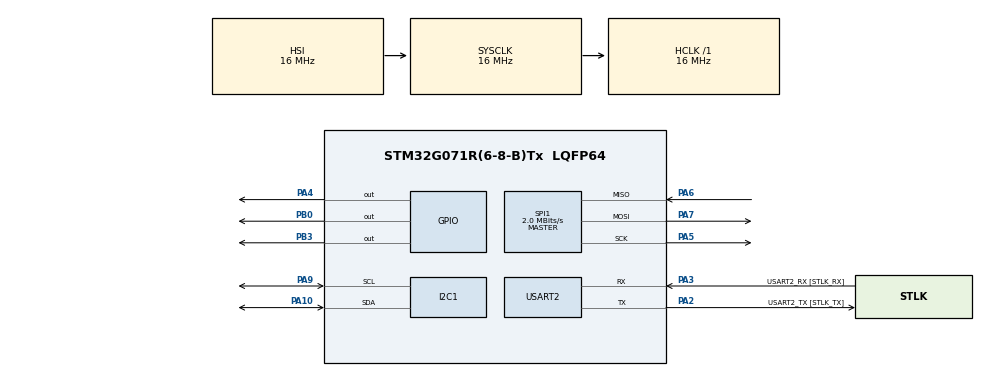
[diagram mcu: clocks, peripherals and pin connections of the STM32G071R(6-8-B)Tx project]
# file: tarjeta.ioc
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Mcu.Family=STM32G0
Mcu.Name=STM32G071R(6-8-B)Tx
Mcu.Package=LQFP64
NVIC.USART2_IRQn=true\:0\:0\:false\:false\:true\:true\:true
PA10.Mode=I2C
PA10.Signal=I2C1_SDA
PA13.GPIO_Label=TMS
PA13.Mode=Serial_Wire
PA13.Signal=SYS_SWDIO
PA14-BOOT0.GPIO_Label=TCK
PA14-BOOT0.Mode=Serial_Wire
PA14-BOOT0.Signal=SYS_SWCLK
PA2.GPIO_Label=USART2_TX [STLK_TX]
PA2.GPIO_PuPd=GPIO_PULLUP
PA2.Mode=Asynchronous
PA2.Signal=USART2_TX
PA3.GPIO_Label=USART2_RX [STLK_RX]
PA3.GPIO_PuPd=GPIO_PULLUP
PA3.Mode=Asynchronous
PA3.Signal=USART2_RX
PA4.Signal=GPIO_Output
PA5.Mode=Full_Duplex_Master
PA5.Signal=SPI1_SCK
PA6.Mode=Full_Duplex_Master
PA6.Signal=SPI1_MISO
PA7.Mode=Full_Duplex_Master
PA7.Signal=SPI1_MOSI
PA9.Mode=I2C
PA9.Signal=I2C1_SCL
PB0.Signal=GPIO_Output
PB3.Signal=GPIO_Output
PC13.Mode=SYS_WakeUp1
PC13.Signal=SYS_WKUP2
PC14-OSC32_IN\ (PC14).Mode=LSE-External-Oscillator
PC14-OSC32_IN\ (PC14).Signal=RCC_OSC32_IN
PC15-OSC32_OUT\ (PC15).Mode=LSE-External-Oscillator
PC15-OSC32_OUT\ (PC15).Signal=RCC_OSC32_OUT
PF0-OSC_IN\ (PF0).GPIO_Label=MCO
PF0-OSC_IN\ (PF0).Mode=HSE-External-Clock-Source
PF0-OSC_IN\ (PF0).Signal=RCC_OSC_IN
ProjectManager.HeapSize=0x200
ProjectManager.StackSize=0x400
ProjectManager.TargetToolchain=STM32CubeIDE
RCC.AHBFreq_Value=16000000
RCC.CortexFreq_Value=16000000
RCC.EXTERNAL_CLOCK_VALUE=12288000
RCC.HCLKFreq_Value=16000000
RCC.HSE_VALUE=8000000
RCC.HSI_VALUE=16000000
RCC.SYSCLKFreq_VALUE=16000000
RCC.VCOOutputFreq_Value=128000000
SPI1.BaudRatePrescaler=SPI_BAUDRATEPRESCALER_8
SPI1.CalculateBaudRate=2.0 MBits/s
SPI1.DataSize=SPI_DATASIZE_8BIT
SPI1.Direction=SPI_DIRECTION_2LINES
SPI1.Mode=SPI_MODE_MASTER
SPI1.VirtualType=VM_MASTER
USART2.VirtualMode-Asynchronous=VM_ASYNC
VP_SYS_VS_DBSignals.Mode=DisableDeadBatterySignals
board=NUCLEO-G071RB

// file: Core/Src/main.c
/* USER CODE BEGIN Header */
/**
  ******************************************************************************
  * @file           : main.c
  * @brief          : Main program body
  ******************************************************************************
  * @attention
  *
  * <h2><center>&copy; Copyright (c) 2022 STMicroelectronics.
  * All rights reserved.</center></h2>
  *
  * This software component is licensed by ST under BSD 3-Clause license,
  * the "License"; You may not use this file except in compliance with the
  * License. You may obtain a copy of the License at:
  *                        opensource.org/licenses/BSD-3-Clause
  *
  ******************************************************************************
  */
/* USER CODE END Header */
#include "main.h"

/* USER CODE BEGIN Includes */
#include "i2c-lcd.h"
#include "stm32f1_rc522.h"
#include "string.h"
#include "stdio.h"
#include "ds1307_for_stm32_hal.h"
/* USER CODE END Includes */

I2C_HandleTypeDef hi2c1;

SPI_HandleTypeDef hspi1;

UART_HandleTypeDef huart2;

/* USER CODE BEGIN PV */

//Variables utilizadas
int bandera=0,i=0,enter=0,bandera,j=0,n=0;
char palabra[100],actual[5],buff[20];
int segundos=0,minutos=0,horas=0,year=0,dia=0,mes=0;

/* USER CODE END PV */

void SystemClock_Config(void);
static void MX_GPIO_Init(void);
static void MX_USART2_UART_Init(void);
static void MX_SPI1_Init(void);
static void MX_I2C1_Init(void);

/* USER CODE BEGIN 0 */
uint8_t estado;
uint8_t str[MAX_LEN];
uint8_t data[1]=" ";
char identificacion[5];

struct base//Estructura que almacena el ID de la tarjeta y el nombre del usuario
{
    char c[5];
    char nombre[100];
}tarjetas[10];

//Esta funcion retornara un 1 en caso de a ver encontrado una tarjeta y un 0 en el caso contrario
int reconocer(){

	 j=0;
	int count=0;
	do {
		for (int var = 0; var < 5; ++var) {//Busqueda de coincidencia de los ID de las tarjetas
											//En la estructura
			if (tarjetas[j].c[var]==identificacion[var])
				    {
				    	count++;
				    }
		}
		if (count==5) {
			return 1;

		} else {
		count=0;
		}

		 j++;
	} while (j!=10);

	return 0;
}

//Funcion para agregar tarjetas
//Con la ayuda de la funcion de reconocer podemos saber si ya la tarjeta
//Leida se puede o no agregar en caso de ya estar agregada nos retornara un 1
//indicando que ya esta agregada en el caso contrario un 0
int agregar(){
	int pos=0;
if(reconocer()){
	return 1;
}
for (int var = 0; var < 10; ++var) {//Posicionamiento en un espacio vacio de la estructura
									//Para poder agregar la tarjeta
	if(tarjetas[var].c[0]=='\0'){
		pos=var;
		break;
	}
}
memcpy(tarjetas[pos].c,identificacion,5);//Copiando tarjeta leida a la posicion pertinente
return 0;
}
void eliminar(int pos){//eliminacion de tarjetas
	for (int var = 0; var < 5; ++var) {
		tarjetas[pos].c[var]='\0';
	}
}
void clean(){//Limpiador del array que almacena los comandos de eliminar y agregar
	for (int var = 0; var < 100; ++var) {
		palabra[var]='\0';
	}
}
void call(){//Llamado de el lector de tarjeta
		estado=MFRC522_Request(PICC_REQIDL,str);//Si estado=0 significa que a pasado una tarjeta por el lector
												//En caso contrario permanecera en 1 o 2 dependiendo si hay o no un error
		 estado=MFRC522_Anticoll(str);
		  memcpy(identificacion,str,5);//Copiando la tarjeta leida al array que indica la tarjeta actual
}

/* USER CODE END 0 */

int main(void)
{

  /* MCU Configuration--------------------------------------------------------*/

  /* Reset of all peripherals, Initializes the Flash interface and the Systick. */
  HAL_Init();

  /* Configure the system clock */
  SystemClock_Config();

  /* Initialize all configured peripherals */
  MX_GPIO_Init();
  MX_USART2_UART_Init();
  MX_SPI1_Init();
  MX_I2C1_Init();
  /* USER CODE BEGIN 2 */

  //Inicializacion de los perifericos y los protocolos de comunicacion
  lcd_init();
MFRC522_Init();
HAL_UART_Receive_IT(&huart2, data, 1);
DS1307_Init(&hi2c1);

//Seteo de la Hora
// DS1307_SetTimeZone(-4,00);
//DS1307_SetHour(11);
//DS1307_SetMinute(12);
//DS1307_SetSecond(0);

//DS1307_SetDate(30);
//DS1307_SetMonth(4);
//DS1307_SetYear(2022);

//Inicializacion de la tarjeta principal
memcpy(tarjetas[0].nombre,"Miguel",6);//Nombre del usuario principal

//ID de la tarjeta principal en Hexadecimal
tarjetas[0].c[0]=0xAC;
tarjetas[0].c[1]=0x6;
tarjetas[0].c[2]=0xA;
tarjetas[0].c[3]=0x4A;
tarjetas[0].c[4]=0xEA;

  /* USER CODE END 2 */

  /* Infinite loop */
  /* USER CODE BEGIN WHILE */
  while (1)
  {
	  if (!bandera) {//Mensaje el cual se presentara cuando no se haya hecho una accion en el lector de tarjeta
		  lcd_put_cur(0,0);
		  lcd_send_string("Proyecto Final");
		  lcd_put_cur(1,0);
		  lcd_send_string("   de micro");
	}
	 call();//llamado de la funcion de la tarjeta
	 if (reconocer()&&j==0) {//Bandera la cual indica que se ejercio alguna accion en el lector de tarjetas
		bandera=1;
	}

	 //eliminar y agregar tarjetas
	  if(enter==2&&bandera){//confirmacion que se desea borrar o agregar alguna tarjeta

		  if(strcmp(palabra,"agregar")==0){//Confirmacion de que se pidio agregar una tarjeta

			  lcd_clear();//Limpiador de la pantalla lcd
			  lcd_put_cur(0,0);//posicionamiento de la lcd
			  //mensaje dirigido al usuario
			  lcd_send_string("Introduzca");
			  lcd_put_cur(1,0);
			  lcd_send_string("la tarjeta");
			  reconocer();//llamado a la funcion de reconocer

			  if(estado==0&&j>0){//en el caso que la tarjeta introducida
			  if(agregar()==0){//no sea la principal y no este agregada se agregara

				  //Mensaje indicando que se agrego correctamente
				  lcd_clear();
				  lcd_put_cur(0,0);
				  lcd_send_string("Agregado");
				  lcd_put_cur(1,0);
				  lcd_send_string("correctamente");
				  HAL_Delay(3000);//Tiempo de visualizacion
				  lcd_clear();

			  	}
			  	else{//Mensaje para el usuario en caso de que la tarjeta se encuentre registrada

			  		 lcd_clear();
					  lcd_put_cur(0,0);
					  lcd_send_string("Este usuario");
					  lcd_put_cur(1,0);
					  lcd_send_string("ya esta registrado");
			  		HAL_Delay(3000);//Tiempo de visualizacion
			  		lcd_clear();
			  	}
			  //Reinicio del programa para la entrada de una nueva tarjeta
			  	 clean();
			  	 i=0;
			  	 enter=0;
			  	 bandera=0;
			  }
		 	  }
		  else if(strcmp(palabra,"eliminar")==0){//Confirmacion de que se pidio eliminar una tarjeta

			  //Mensaje al usuario
			  lcd_clear();
			  lcd_put_cur(0,0);
			  lcd_send_string("Introduzca");
			  lcd_put_cur(1,0);
			  lcd_send_string("   la tarjeta");

			  	  reconocer();//llamado a la funcion de reconocer
			  			  if(estado==0&&j>0){//En el caso de reconocer una tarjeta que no sea la principal
			  				  if(reconocer()){//Se procede a borrarla en la ubicacion correspondiente dada por la variable J

			  					  //Eliminacion del ID de la tarjeta y el nombre de usuario
			  					  for (int var = 0; var < 100; ++var)
			  					{		if (var<5) {
			  						tarjetas[j].c[var]='\0';
											}
										tarjetas[j].nombre[var]='\0';
									}

			  					  //Mensaje para el usuario en el caso de que se efectue la eliminacion
			  					  lcd_clear();
								  lcd_put_cur(0,0);
								  lcd_send_string("Elimiacion");
								  lcd_put_cur(1,0);
								  lcd_send_string("exitosa");
								  HAL_Delay(3000);//Tiempo de visualizacion
								  lcd_clear();
			  							  			  }
			  				  else {//En el caso de que la tarjeta introducida no este agregada se presenta el siguiente mensaje
							  lcd_clear();
							  lcd_put_cur(0,0);
							  lcd_send_string("Este usuario no");
							  lcd_put_cur(1,0);
							  lcd_send_string("esta registrado");
			  					  HAL_Delay(3000);
							  	lcd_clear();
							}
			  				//Reinicio del programa para la entrada de una nueva tarjeta
			  				 clean();
							 i=0;
							 enter=0;
							 bandera=0;
			  				  }
		  }
	  }
	  else if(estado==0){//Abrir y cerrar puerta
		  if (reconocer()) {//Si la tarjeta introducida es reconocida se cambia el estado de la puerta

		  	HAL_GPIO_TogglePin(GPIOB, GPIO_PIN_3);//Estado de la puerta

		  	if (HAL_GPIO_ReadPin(GPIOB, GPIO_PIN_3)) {//Si la puerta esta abierta

		  		//Se presenta el nombre del usuario correspondiente y la hora y fecha al momento
		  		 lcd_clear();
		  		 lcd_put_cur(0,0);
				 lcd_send_string("Saludo");
				 lcd_put_cur(0,8);
				 lcd_send_string(tarjetas[j].nombre);//impresion del nombre luego del saludo

				 //Cargar fecha del momento
				 horas = DS1307_GetHour();
				 minutos = DS1307_GetMinute();
				 segundos = DS1307_GetSecond();
				 dia=DS1307_GetDate();
				 mes=DS1307_GetMonth();
				 year=DS1307_GetYear();

				sprintf(buff,"%2d:%2d %2d/%2d/%2d",horas,minutos,dia,mes,year);//Array que almacena la fecha y su estilo
				lcd_put_cur(1,0);
				lcd_send_string(buff);//Impresion de la fecha en la fila de abajo
				HAL_Delay(5000);//Tiempo de visualizacion
				lcd_clear();

		  				}
		  			  	 else
		  			  	 {//En el caso de que la puerta pase de abierto a cerrado
		  			  		 //Se enviara el siguiente mensaje
		  			  	lcd_clear();
		  			  	lcd_put_cur(0,0);
						 lcd_send_string("Adios");
						 HAL_Delay(3000);//Tiempo de visualizacion
						 lcd_clear();
		  			  	 }
		  }
		  else
		  {//En el caso de que la tarjeta introducida no es reconocida
			  //Se envia el siguiente mensaje
			  lcd_clear();
			  lcd_put_cur(0,0);
			  lcd_send_string("Este usuario no");
			  lcd_put_cur(1,0);
			  lcd_send_string("esta registrado");
			  HAL_Delay(3000);//Tiempo de visualizacion
			  lcd_clear();
		  }
		  bandera=0;//reinicio para la entrada o la salida del siguiente usuario

		  }

    /* USER CODE END WHILE */

  }
}

void SystemClock_Config(void)
{
  RCC_OscInitTypeDef RCC_OscInitStruct = {0};
  RCC_ClkInitTypeDef RCC_ClkInitStruct = {0};
  RCC_PeriphCLKInitTypeDef PeriphClkInit = {0};

  /** Configure the main internal regulator output voltage
  */
  HAL_PWREx_ControlVoltageScaling(PWR_REGULATOR_VOLTAGE_SCALE1);
  /** Initializes the RCC Oscillators according to the specified parameters
  * in the RCC_OscInitTypeDef structure.
  */
  RCC_OscInitStruct.OscillatorType = RCC_OSCILLATORTYPE_HSI;
  RCC_OscInitStruct.HSIState = RCC_HSI_ON;
  RCC_OscInitStruct.HSIDiv = RCC_HSI_DIV1;
  RCC_OscInitStruct.HSICalibrationValue = RCC_HSICALIBRATION_DEFAULT;
  RCC_OscInitStruct.PLL.PLLState = RCC_PLL_NONE;
  if (HAL_RCC_OscConfig(&RCC_OscInitStruct) != HAL_OK)
  {
    Error_Handler();
  }
  /** Initializes the CPU, AHB and APB buses clocks
  */
  RCC_ClkInitStruct.ClockType = RCC_CLOCKTYPE_HCLK|RCC_CLOCKTYPE_SYSCLK
                              |RCC_CLOCKTYPE_PCLK1;
  RCC_ClkInitStruct.SYSCLKSource = RCC_SYSCLKSOURCE_HSI;
  RCC_ClkInitStruct.AHBCLKDivider = RCC_SYSCLK_DIV1;
  RCC_ClkInitStruct.APB1CLKDivider = RCC_HCLK_DIV1;

  if (HAL_RCC_ClockConfig(&RCC_ClkInitStruct, FLASH_LATENCY_0) != HAL_OK)
  {
    Error_Handler();
  }
  /** Initializes the peripherals clocks
  */
  PeriphClkInit.PeriphClockSelection = RCC_PERIPHCLK_USART2|RCC_PERIPHCLK_I2C1;
  PeriphClkInit.Usart2ClockSelection = RCC_USART2CLKSOURCE_PCLK1;
  PeriphClkInit.I2c1ClockSelection = RCC_I2C1CLKSOURCE_PCLK1;
  if (HAL_RCCEx_PeriphCLKConfig(&PeriphClkInit) != HAL_OK)
  {
    Error_Handler();
  }
}

static void MX_I2C1_Init(void)
{

  hi2c1.Instance = I2C1;
  hi2c1.Init.Timing = 0x00303D5B;
  hi2c1.Init.OwnAddress1 = 0;
  hi2c1.Init.AddressingMode = I2C_ADDRESSINGMODE_7BIT;
  hi2c1.Init.DualAddressMode = I2C_DUALADDRESS_DISABLE;
  hi2c1.Init.OwnAddress2 = 0;
  hi2c1.Init.OwnAddress2Masks = I2C_OA2_NOMASK;
  hi2c1.Init.GeneralCallMode = I2C_GENERALCALL_DISABLE;
  hi2c1.Init.NoStretchMode = I2C_NOSTRETCH_DISABLE;
  if (HAL_I2C_Init(&hi2c1) != HAL_OK)
  {
    Error_Handler();
  }
  /** Configure Analogue filter
  */
  if (HAL_I2CEx_ConfigAnalogFilter(&hi2c1, I2C_ANALOGFILTER_ENABLE) != HAL_OK)
  {
    Error_Handler();
  }
  /** Configure Digital filter
  */
  if (HAL_I2CEx_ConfigDigitalFilter(&hi2c1, 0) != HAL_OK)
  {
    Error_Handler();
  }

}

static void MX_SPI1_Init(void)
{

  /* SPI1 parameter configuration*/
  hspi1.Instance = SPI1;
  hspi1.Init.Mode = SPI_MODE_MASTER;
  hspi1.Init.Direction = SPI_DIRECTION_2LINES;
  hspi1.Init.DataSize = SPI_DATASIZE_8BIT;
  hspi1.Init.CLKPolarity = SPI_POLARITY_LOW;
  hspi1.Init.CLKPhase = SPI_PHASE_1EDGE;
  hspi1.Init.NSS = SPI_NSS_SOFT;
  hspi1.Init.BaudRatePrescaler = SPI_BAUDRATEPRESCALER_8;
  hspi1.Init.FirstBit = SPI_FIRSTBIT_MSB;
  hspi1.Init.TIMode = SPI_TIMODE_DISABLE;
  hspi1.Init.CRCCalculation = SPI_CRCCALCULATION_DISABLE;
  hspi1.Init.CRCPolynomial = 7;
  hspi1.Init.CRCLength = SPI_CRC_LENGTH_DATASIZE;
  hspi1.Init.NSSPMode = SPI_NSS_PULSE_ENABLE;
  if (HAL_SPI_Init(&hspi1) != HAL_OK)
  {
    Error_Handler();
  }

}

static void MX_USART2_UART_Init(void)
{

  huart2.Instance = USART2;
  huart2.Init.BaudRate = 115200;
  huart2.Init.WordLength = UART_WORDLENGTH_8B;
  huart2.Init.StopBits = UART_STOPBITS_1;
  huart2.Init.Parity = UART_PARITY_NONE;
  huart2.Init.Mode = UART_MODE_TX_RX;
  huart2.Init.HwFlowCtl = UART_HWCONTROL_NONE;
  huart2.Init.OverSampling = UART_OVERSAMPLING_16;
  huart2.Init.OneBitSampling = UART_ONE_BIT_SAMPLE_DISABLE;
  huart2.Init.ClockPrescaler = UART_PRESCALER_DIV1;
  huart2.AdvancedInit.AdvFeatureInit = UART_ADVFEATURE_NO_INIT;
  if (HAL_UART_Init(&huart2) != HAL_OK)
  {
    Error_Handler();
  }
  if (HAL_UARTEx_SetTxFifoThreshold(&huart2, UART_TXFIFO_THRESHOLD_1_8) != HAL_OK)
  {
    Error_Handler();
  }
  if (HAL_UARTEx_SetRxFifoThreshold(&huart2, UART_RXFIFO_THRESHOLD_1_8) != HAL_OK)
  {
    Error_Handler();
  }
  if (HAL_UARTEx_DisableFifoMode(&huart2) != HAL_OK)
  {
    Error_Handler();
  }

}

static void MX_GPIO_Init(void)
{
  GPIO_InitTypeDef GPIO_InitStruct = {0};

  /* GPIO Ports Clock Enable */
  __HAL_RCC_GPIOC_CLK_ENABLE();
  __HAL_RCC_GPIOF_CLK_ENABLE();
  __HAL_RCC_GPIOA_CLK_ENABLE();
  __HAL_RCC_GPIOB_CLK_ENABLE();

  /*Configure GPIO pin Output Level */
  HAL_GPIO_WritePin(GPIOA, GPIO_PIN_4, GPIO_PIN_RESET);

  /*Configure GPIO pin Output Level */
  HAL_GPIO_WritePin(GPIOB, GPIO_PIN_0|GPIO_PIN_3, GPIO_PIN_RESET);

  /*Configure GPIO pin : PA4 */
  GPIO_InitStruct.Pin = GPIO_PIN_4;
  GPIO_InitStruct.Mode = GPIO_MODE_OUTPUT_PP;
  GPIO_InitStruct.Pull = GPIO_NOPULL;
  GPIO_InitStruct.Speed = GPIO_SPEED_FREQ_LOW;
  HAL_GPIO_Init(GPIOA, &GPIO_InitStruct);

  /*Configure GPIO pins : PB0 PB3 */
  GPIO_InitStruct.Pin = GPIO_PIN_0|GPIO_PIN_3;
  GPIO_InitStruct.Mode = GPIO_MODE_OUTPUT_PP;
  GPIO_InitStruct.Pull = GPIO_NOPULL;
  GPIO_InitStruct.Speed = GPIO_SPEED_FREQ_LOW;
  HAL_GPIO_Init(GPIOB, &GPIO_InitStruct);

}

/* USER CODE BEGIN 4 */
void HAL_UART_RxCpltCallback(UART_HandleTypeDef *huart)//Callback del uart
{
	 HAL_UART_Transmit(&huart2,data, 1,10);//Transmisión por UART

	 //Almacenamiento por teclado y activacion de la bandera para eliminar o borrar
	 if(strcmp(palabra,"eliminar")==0){
		 enter=2;
		 i=0;
	 }
	 else if(strcmp(palabra,"agregar")==0&&enter){
		 if(data[0]!='\r')
				  {
				  tarjetas[n].nombre[i]=data[0];//Almacenamiento del nombre de usuario
				  i++;
				  }
		 	 else {
		 		 enter=2;
		 		 i=0;
		 	}

	 }

	 else if(data[0]!='\r')
		 	 		  {
		 	 		  palabra[i]=data[0];//Almacenamiento de los comandos ya sea eliminar o borrar
		 	 		  i++;
		 	 		  }
	 else {
		 for (int var = 0; var < 10; ++var) {//Ubicacion del nombre de usuario
		 	if(tarjetas[var].nombre[0]=='\0'){
		 		n=var;
		 		break;
		 	}
		 }
		 enter=1;
		 i=0;

	}

					if (data[0]=='\b') {//Borrar en el caso de equivocacion
						clean();
						enter=0;
						i=0;
					}

	HAL_UART_Receive_IT(&huart2, data, 1);//Recivir por UART
}
/* USER CODE END 4 */

void Error_Handler(void)
{
  __disable_irq();
  while (1)
  {
  }
}

/************************ (C) COPYRIGHT STMicroelectronics *****END OF FILE****/
